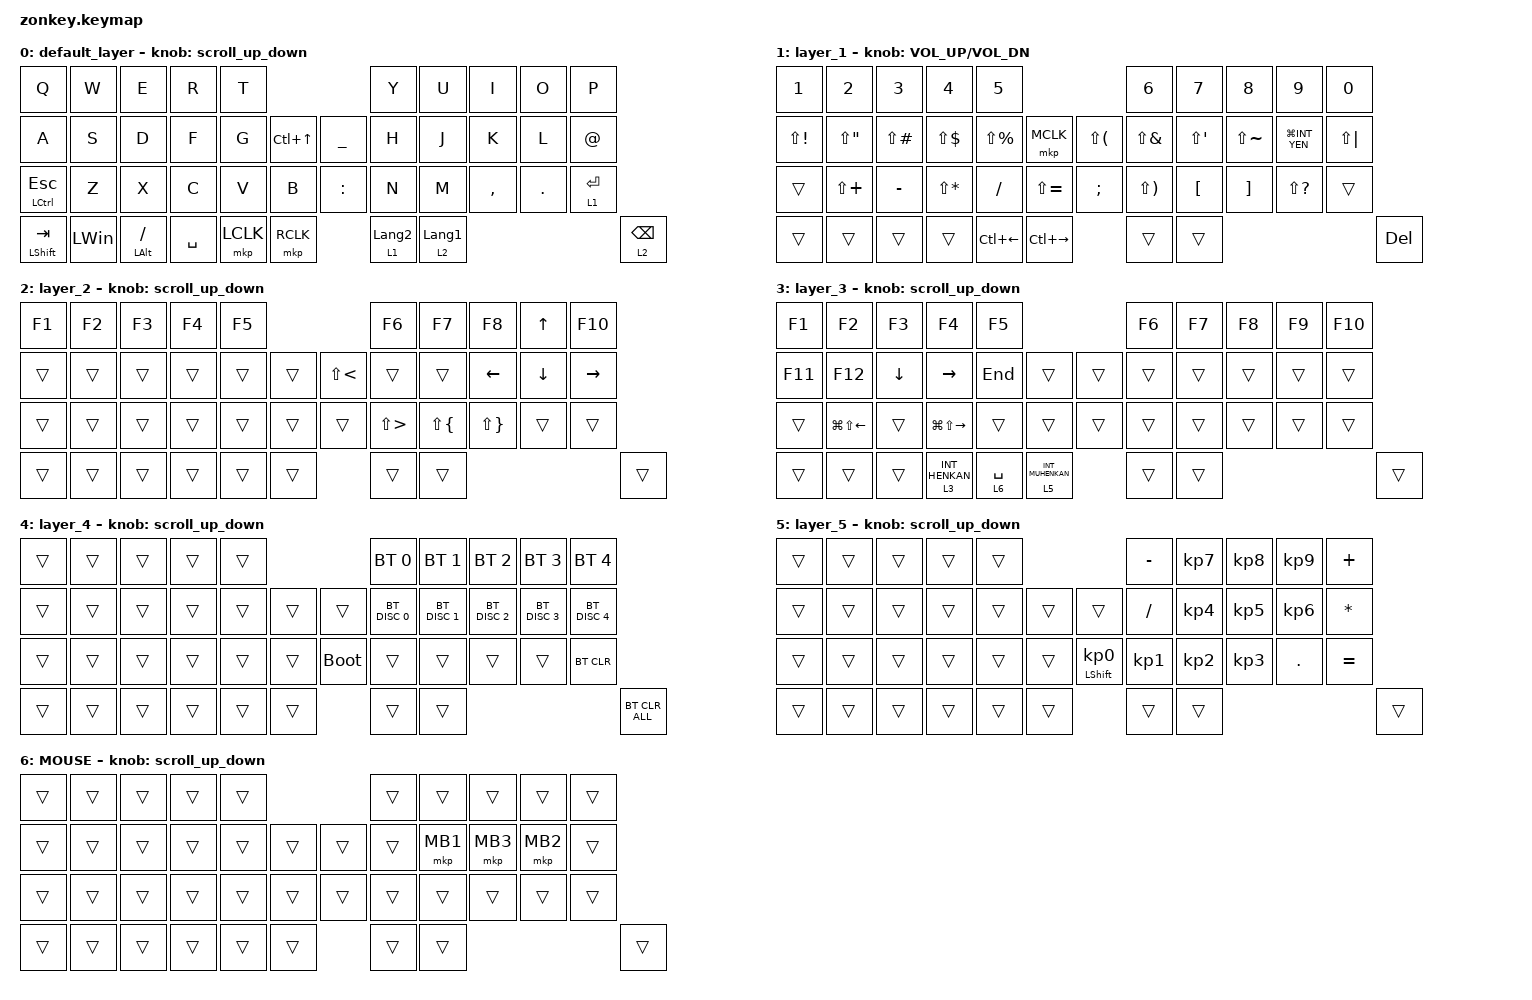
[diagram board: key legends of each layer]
#include <physical_layouts.dtsi>
#include <behaviors.dtsi>
#include <dt-bindings/zmk/bt.h>
#include <dt-bindings/zmk/keys.h>
#include <dt-bindings/zmk/pointing.h>

#define ZMK_POINTING_DEFAULT_SCRL_VAL 100
#define DFb 0
#define JIS 1
#define BT 4
#define MOUSE 6
#define JP_DQUOTE       AT                // "
#define JP_AMPERSAND    CARET             // &
#define JP_QUOTE        AMPERSAND         // '
#define JP_EQUAL        UNDER             // =
#define JP_CARET        EQUAL             // ^
#define JP_YEN          0x89              // ¥
#define JP_PLUS         COLON             // +
#define JP_TILDE        PLUS              // ~
#define JP_PIPE         LS(0x89)          // |
#define JP_AT           LEFT_BRACKET      // @
#define JP_COLON        SINGLE_QUOTE      // :
#define JP_ASTERISK     DOUBLE_QUOTES     // *
#define JP_BACKQUOTE    LEFT_BRACE        // `
#define JP_UNDERSCORE   LS(0x87)          // _
#define JP_LBRACKET     RIGHT_BRACKET     // [
#define JP_RBRACKET     BACKSLASH         // ]
#define JP_LPAREN       ASTERISK          // (
#define JP_RPAREN       LEFT_PARENTHESIS  // )
#define JP_LBRACE       RIGHT_BRACE       // {
#define JP_RBRACE       PIPE              // }
#define JP_KANA         LANGUAGE_1        // かな
#define JP_EISU         LANGUAGE_2        // 英数
#define JP_HANZEN       GRAVE             // 半角/全角
#define JP_BSLH  INT1         // (backslash)

&mt {
    flavor = "balanced";
    quick-tap-ms = <0>;
};

/ {
    combos { compatible = "zmk,combos"; };

    macros {
        to_layer_0: to_layer_0 {
            compatible = "zmk,behavior-macro-one-param";
            #binding-cells = <1>;
            bindings = <&to 0 &macro_param_1to1 &kp MACRO_PLACEHOLDER>;
            label = "TO_LAYER_0";
        };
    };

    behaviors {
        lt_to_layer_0: lt_to_layer_0 {
            compatible = "zmk,behavior-hold-tap";
            label = "LAYER_TAP_TO_0";
            bindings = <&mo>, <&to_layer_0>;

            #binding-cells = <2>;
            tapping-term-ms = <200>;
        };

        mo2: mo2 {
            compatible = "zmk,behavior-mod-morph";
            #binding-cells = <0>;
            bindings = <&kp N2>, <&kp AT>;

            mods = <(MOD_LSFT|MOD_RSFT)>;
        };

        mo6: mo6 {
            compatible = "zmk,behavior-mod-morph";
            #binding-cells = <0>;
            bindings = <&kp N6>, <&kp CARET>;

            mods = <(MOD_LSFT|MOD_RSFT)>;
        };

        mo7: mo7 {
            compatible = "zmk,behavior-mod-morph";
            #binding-cells = <0>;
            bindings = <&kp N7>, <&kp AMPS>;

            mods = <(MOD_LSFT|MOD_RSFT)>;
        };

        mo8: mo8 {
            compatible = "zmk,behavior-mod-morph";
            #binding-cells = <0>;
            bindings = <&kp N8>, <&kp ASTRK>;

            mods = <(MOD_LSFT|MOD_RSFT)>;
        };

        mo9: mo9 {
            compatible = "zmk,behavior-mod-morph";
            #binding-cells = <0>;
            bindings = <&kp N9>, <&kp LPAR>;

            mods = <(MOD_LSFT|MOD_RSFT)>;
        };

        mo0: mo0 {
            compatible = "zmk,behavior-mod-morph";
            #binding-cells = <0>;
            bindings = <&kp N0>, <&kp LS(N9)>;

            mods = <(MOD_LSFT|MOD_RSFT)>;
        };

        moA: moA {
            compatible = "zmk,behavior-mod-morph";
            #binding-cells = <0>;
            bindings = <&kp MINUS>, <&kp UNDERSCORE>;

            mods = <(MOD_LSFT|MOD_RSFT)>;
        };

        moB: moB {
            compatible = "zmk,behavior-mod-morph";
            #binding-cells = <0>;
            bindings = <&kp EQUAL>, <&kp PLUS>;

            mods = <(MOD_LSFT|MOD_RSFT)>;
        };

        moC: moC {
            compatible = "zmk,behavior-mod-morph";
            #binding-cells = <0>;
            bindings = <&kp INT3>, <&kp JP_PIPE>;

            mods = <(MOD_LSFT|MOD_RSFT)>;
        };

        moD: moD {
            compatible = "zmk,behavior-mod-morph";
            #binding-cells = <0>;
            bindings = <&kp LBKT>, <&kp LBRC>;

            mods = <(MOD_LSFT|MOD_RSFT)>;
        };

        moE: moE {
            compatible = "zmk,behavior-mod-morph";
            #binding-cells = <0>;
            bindings = <&kp RBKT>, <&kp RBRC>;

            mods = <(MOD_LSFT|MOD_RSFT)>;
        };

        moF: moF {
            compatible = "zmk,behavior-mod-morph";
            #binding-cells = <0>;
            bindings = <&kp SEMI>, <&kp KP_PLUS>;

            mods = <(MOD_LSFT|MOD_RSFT)>;
        };

        moG: moG {
            compatible = "zmk,behavior-mod-morph";
            #binding-cells = <0>;
            bindings = <&kp APOSTROPHE>, <&kp DQT>;

            mods = <(MOD_LSFT|MOD_RSFT)>;
        };

        moH: moH {
            compatible = "zmk,behavior-mod-morph";
            #binding-cells = <0>;
            bindings = <&kp BACKSLASH>, <&kp TILDE2>;

            mods = <(MOD_LSFT|MOD_RSFT)>;
        };

        moI: moI {
            compatible = "zmk,behavior-mod-morph";
            #binding-cells = <0>;
            bindings = <&kp JP_BSLH>, <&kp JP_UNDERSCORE>;

            mods = <(MOD_LSFT|MOD_RSFT)>;
        };

        scroll_up_down: behavior_sensor_rotate_mouse_wheel_up_down {
            compatible = "zmk,behavior-sensor-rotate";
            #sensor-binding-cells = <0>;
            bindings = <&msc SCRL_UP>, <&msc SCRL_DOWN>;

            tap-ms = <20>;
        };
    };

    keymap {
        compatible = "zmk,keymap";

        default_layer {
            bindings = <
&kp Q                    &kp W         &kp E               &kp R      &kp T                               &kp Y             &kp U             &kp I      &kp O    &kp P
&kp A                    &kp S         &kp D               &kp F      &kp G      &kp LC(UP)    &kp UNDER  &kp H             &kp J             &kp K      &kp L    &kp AT
&mt LEFT_CONTROL ESCAPE  &kp Z         &kp X               &kp C      &kp V      &kp B         &kp COLON  &kp N             &kp M             &kp COMMA  &kp DOT  &lt 1 ENTER
&mt LEFT_SHIFT TAB       &kp LEFT_WIN  &mt LEFT_ALT SLASH  &kp SPACE  &mkp LCLK  &mkp RCLK                &lt 1 LANGUAGE_2  &lt 2 LANGUAGE_1                                   &lt 2 BACKSPACE
            >;

            sensor-bindings = <&scroll_up_down>;
        };

        layer_1 {
            bindings = <
&kp N1        &kp N2        &kp N3         &kp N4        &kp N5                                        &kp N6        &kp N7       &kp N8         &kp N9           &kp N0
&kp LS(EXCL)  &kp LS(DQT)   &kp LS(POUND)  &kp LS(DLLR)  &kp LS(PRCNT)  &mkp MCLK        &kp LS(LPAR)  &kp LS(AMPS)  &kp LS(SQT)  &kp LS(TILDE)  &kp LG(INT_YEN)  &kp LS(PIPE)
&trans        &kp LS(PLUS)  &kp MINUS      &kp LS(STAR)  &kp FSLH       &kp LS(EQUAL)    &kp SEMI      &kp LS(RPAR)  &kp LBKT     &kp RBKT       &kp LS(QMARK)    &trans
&trans        &trans        &trans         &trans        &kp LC(LEFT)   &kp LC(RIGHT)                  &trans        &trans                                                     &kp DEL
            >;

            sensor-bindings = <&inc_dec_kp C_VOLUME_UP C_VOL_DN>;
        };

        layer_2 {
            bindings = <
&kp F1  &kp F2  &kp F3  &kp F4  &kp F5                        &kp F6      &kp F7        &kp F8        &kp UP    &kp F10
&trans  &trans  &trans  &trans  &trans  &trans    &kp LS(LT)  &trans      &trans        &kp LEFT      &kp DOWN  &kp RIGHT
&trans  &trans  &trans  &trans  &trans  &trans    &trans      &kp LS(GT)  &kp LS(LBRC)  &kp LS(RBRC)  &trans    &trans
&trans  &trans  &trans  &trans  &trans  &trans                &trans      &trans                                           &trans
            >;

            sensor-bindings = <&scroll_up_down>;
        };

        layer_3 {
            bindings = <
&kp F1   &kp F2                  &kp F3          &kp F4                   &kp F5                                     &kp F6  &kp F7  &kp F8  &kp F9  &kp F10
&kp F11  &kp F12                 &kp DOWN_ARROW  &kp RIGHT_ARROW          &kp END      &trans                &trans  &trans  &trans  &trans  &trans  &trans
&trans   &kp LG(LS(LEFT_ARROW))  &trans          &kp LG(LS(RIGHT_ARROW))  &trans       &trans                &trans  &trans  &trans  &trans  &trans  &trans
&trans   &trans                  &trans          &lt 3 INT_HENKAN         &lt 6 SPACE  &lt 5 INT_MUHENKAN            &trans  &trans                           &trans
            >;

            sensor-bindings = <&scroll_up_down>;
        };

        layer_4 {
            bindings = <
&trans  &trans  &trans  &trans  &trans                         &bt BT_SEL 0   &bt BT_SEL 1   &bt BT_SEL 2   &bt BT_SEL 3   &bt BT_SEL 4
&trans  &trans  &trans  &trans  &trans  &trans    &trans       &bt BT_DISC 0  &bt BT_DISC 1  &bt BT_DISC 2  &bt BT_DISC 3  &bt BT_DISC 4
&trans  &trans  &trans  &trans  &trans  &trans    &bootloader  &trans         &trans         &trans         &trans         &bt BT_CLR
&trans  &trans  &trans  &trans  &trans  &trans                 &trans         &trans                                                      &bt BT_CLR_ALL
            >;

            sensor-bindings = <&scroll_up_down>;
        };

        layer_5 {
            bindings = <
&trans  &trans  &trans  &trans  &trans                                        &kp MINUS        &kp KP_NUMBER_7  &kp KP_NUMBER_8  &kp KP_NUMBER_9  &kp PLUS
&trans  &trans  &trans  &trans  &trans  &trans    &trans                      &kp SLASH        &kp KP_NUMBER_4  &kp KP_NUMBER_5  &kp KP_NUMBER_6  &kp ASTERISK
&trans  &trans  &trans  &trans  &trans  &trans    &mt LEFT_SHIFT KP_NUMBER_0  &kp KP_NUMBER_1  &kp KP_NUMBER_2  &kp KP_NUMBER_3  &kp PERIOD       &kp EQUAL
&trans  &trans  &trans  &trans  &trans  &trans                                &trans           &trans                                                           &trans
            >;

            sensor-bindings = <&scroll_up_down>;
        };

        MOUSE {
            bindings = <
&trans  &trans  &trans  &trans  &trans                    &trans  &trans    &trans    &trans    &trans
&trans  &trans  &trans  &trans  &trans  &trans    &trans  &trans  &mkp MB1  &mkp MB3  &mkp MB2  &trans
&trans  &trans  &trans  &trans  &trans  &trans    &trans  &trans  &trans    &trans    &trans    &trans
&trans  &trans  &trans  &trans  &trans  &trans            &trans  &trans                                &trans
            >;

            sensor-bindings = <&scroll_up_down>;
        };
    };
};
